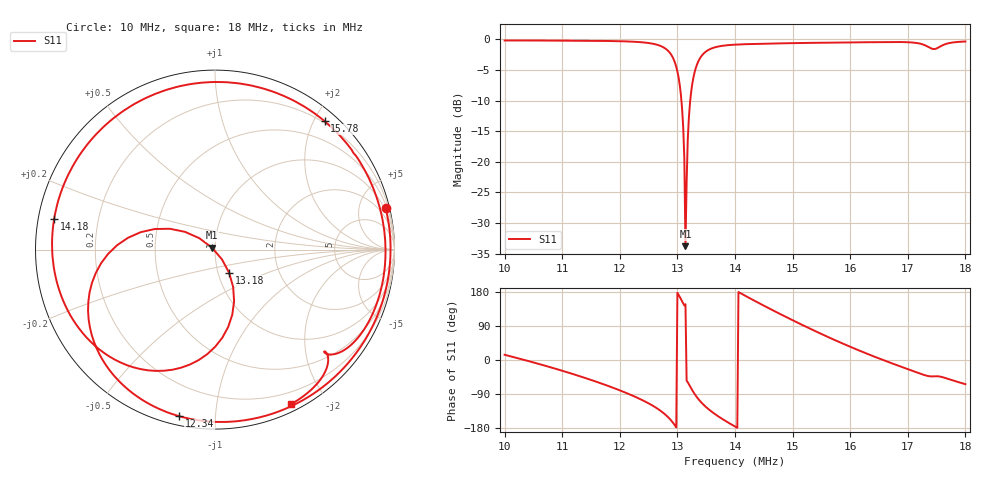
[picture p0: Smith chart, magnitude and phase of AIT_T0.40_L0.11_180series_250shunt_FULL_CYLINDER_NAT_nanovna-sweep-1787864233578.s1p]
! NanoVNA Web complex sweep
! Processing: original sample grid, no browser smoothing
# Hz S RI R 50
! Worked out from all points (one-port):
!   401 points, 10 MHz to 18 MHz, reference 50 ohm
!   lowest |S11| = -33.8 dB at 13.14 MHz (marker M1), VSWR 1.04, Z = 48.3 + j1.07 ohm
!   |S11| at or under -10 dB: 13.07 MHz to 13.22 MHz (153.5 kHz wide, 1.17 % of centre)
!   S11 on the Smith chart (normalised r, x): 10 MHz: 0.74, +8.20; 12.34 MHz: 0.04, -0.81; 13.18 MHz: 1.13, -0.30; 14.18 MHz: 0.05, +0.09; 15.78 MHz: 0.17, +2.16; 18 MHz: 0.07, -1.60
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1e7  0.9505 0.2334
1.1e7  0.8591 -0.4633
1.15e7  0.5914 -0.7724
1.2e7  0.1662 -0.9507
1.234e7  -0.2001 -0.9282
1.26e7  -0.4999 -0.7661
1.28e7  -0.6871 -0.4745
1.292e7  -0.6856 -0.1859
1.3e7  -0.5457 0.0242
1.306e7  -0.3357 0.1147
1.31e7  -0.1675 0.0991
1.314e7  -0.0172 0.0111
1.318e7  0.079 -0.1301
1.32e7  0.1012 -0.2093
1.324e7  0.0962 -0.363
1.336e7  -0.1398 -0.6404
1.348e7  -0.4136 -0.666
1.366e7  -0.6939 -0.5119
1.4e7  -0.9018 -0.0706
1.418e7  -0.8964 0.1695
1.462e7  -0.6414 0.664
1.5e7  -0.2402 0.899
1.538e7  0.208 0.9128
1.578e7  0.6117 0.7147
1.6e7  0.771 0.5387
1.648e7  0.9449 0.0874
1.7e7  0.8641 -0.387
1.8e7  0.4238 -0.8612
